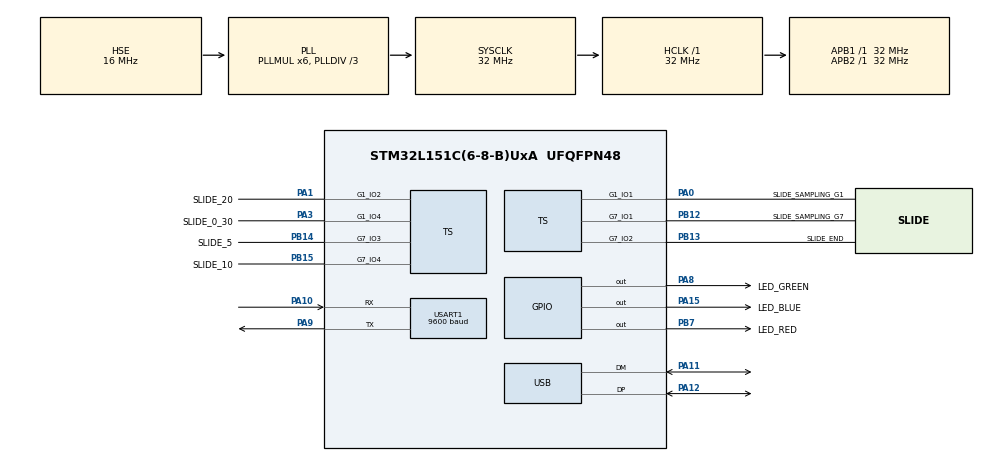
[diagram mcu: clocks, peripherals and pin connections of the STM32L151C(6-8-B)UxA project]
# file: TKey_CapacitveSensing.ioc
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Mcu.Family=STM32L1
Mcu.Name=STM32L151C(6-8-B)UxA
Mcu.Package=UFQFPN48
NVIC.PriorityGroup=NVIC_PRIORITYGROUP_4
NVIC.RCC_IRQn=true\:0\:0\:false\:false\:true\:true\:false\:true
NVIC.USB_LP_IRQn=true\:0\:0\:false\:false\:true\:false\:true\:true
PA0-WKUP1.GPIO_Label=SLIDE_SAMPLING_G1
PA0-WKUP1.Mode=G1_IO1-Sampling
PA0-WKUP1.Signal=TS_G1_IO1
PA1.GPIO_Label=SLIDE_20
PA1.Mode=G1_IO2-Channel
PA1.Signal=TS_G1_IO2
PA10.Mode=Asynchronous
PA10.Signal=USART1_RX
PA11.Mode=Device
PA11.Signal=USB_DM
PA12.Mode=Device
PA12.Signal=USB_DP
PA13.Mode=Trace_Asynchronous_SW
PA13.Signal=SYS_JTMS-SWDIO
PA14.Mode=Trace_Asynchronous_SW
PA14.Signal=SYS_JTCK-SWCLK
PA15.GPIO_Label=LED_BLUE
PA15.PinState=GPIO_PIN_SET
PA15.Signal=GPIO_Output
PA3.GPIO_Label=SLIDE_0_30
PA3.Mode=G1_IO4-Channel
PA3.Signal=TS_G1_IO4
PA8.GPIO_Label=LED_GREEN
PA8.Signal=GPIO_Output
PA9.Mode=Asynchronous
PA9.Signal=USART1_TX
PB12.GPIO_Label=SLIDE_SAMPLING_G7
PB12.Mode=G7_IO1-Sampling
PB12.Signal=TS_G7_IO1
PB13.GPIO_Label=SLIDE_END
PB13.Mode=G7_IO2-Channel
PB13.Signal=TS_G7_IO2
PB14.GPIO_Label=SLIDE_5
PB14.Mode=G7_IO3-Channel
PB14.Signal=TS_G7_IO3
PB15.GPIO_Label=SLIDE_10
PB15.Mode=G7_IO4-Channel
PB15.Signal=TS_G7_IO4
PB3.Mode=Trace_Asynchronous_SW
PB3.Signal=SYS_JTDO-TRACESWO
PB7.GPIO_Label=LED_RED
PB7.PinState=GPIO_PIN_SET
PB7.Signal=GPIO_Output
PC14-OSC32_IN.Mode=LSE-External-Oscillator
PC14-OSC32_IN.Signal=RCC_OSC32_IN
PC15-OSC32_OUT.Mode=LSE-External-Oscillator
PC15-OSC32_OUT.Signal=RCC_OSC32_OUT
PH0-OSC_IN.Mode=HSE-External-Oscillator
PH0-OSC_IN.Signal=RCC_OSC_IN
PH1-OSC_OUT.Mode=HSE-External-Oscillator
PH1-OSC_OUT.Signal=RCC_OSC_OUT
ProjectManager.HeapSize=0x200
ProjectManager.StackSize=0x400
ProjectManager.TargetToolchain=STM32CubeIDE
RCC.48MHZClocksFreq_Value=48000000
RCC.AHBFreq_Value=32000000
RCC.APB1Freq_Value=32000000
RCC.APB1TimFreq_Value=32000000
RCC.APB2Freq_Value=32000000
RCC.APB2TimFreq_Value=32000000
RCC.HCLKFreq_Value=32000000
RCC.HSE_VALUE=16000000
RCC.HSI_VALUE=16000000
RCC.MSIClockRange=RCC_MSIRANGE_6
RCC.MSI_VALUE=4194000
RCC.PLLDIV=RCC_PLL_DIV3
RCC.PLLMUL=RCC_PLL_MUL6
RCC.RTCClockSelection=RCC_RTCCLKSOURCE_LSE
RCC.RTCClockSelectionVirtual=RCC_RTCCLKSOURCE_LSE
RCC.SYSCLKFreq_VALUE=32000000
RCC.SYSCLKSource=RCC_SYSCLKSOURCE_PLLCLK
RCC.VCOOutputFreq_Value=96000000
TOUCHSENSING.IO_TOUCHKEY1=G7_IO2
TOUCHSENSING.IO_TOUCHKEY2=G7_IO3
TOUCHSENSING.IO_TOUCHKEY3=G7_IO4
TOUCHSENSING.IO_TOUCHKEY4=G1_IO2
TOUCHSENSING.IO_TOUCHKEY5=G1_IO4
TOUCHSENSING.TSLPRM_ACQ_MAX=500
TOUCHSENSING.TSLPRM_CALIB_DELAY=10
TOUCHSENSING.TSLPRM_CALIB_SAMPLES=16
TOUCHSENSING.TSLPRM_ECS_DELAY=500
TOUCHSENSING.TSLPRM_PROTECT_IO_ACCESS=1
TOUCHSENSING.TSLPRM_SENSORS_DATAS=TSLPRM_TOTAL_TOUCHKEYS 4 1 1 2 1 
TOUCHSENSING.TSLPRM_TKEY_CALIB_TH=8
TOUCHSENSING.TSLPRM_TKEY_DETECT_IN_TH=8
TOUCHSENSING.TSLPRM_TKEY_DETECT_OUT_TH=6
TOUCHSENSING.TSLPRM_TKEY_PROX_IN_TH=5
TOUCHSENSING.TSLPRM_TKEY_PROX_OUT_TH=2
TOUCHSENSING.TSLPRM_TOTAL_TOUCHKEYS=5
TOUCHSENSING.TSLPRM_TOTAL_TOUCHKEYS_B=0
TOUCHSENSING.TSLPRM_USE_GPIOC=0
TOUCHSENSING.TSLPRM_USE_PROX=0
TS.SamplingIOs-G1_IO1=TSC_GROUP1_IO1
TS.SamplingIOs-G7_IO1=TSC_GROUP7_IO1
USART1.BaudRate=9600
USART1.VirtualMode=VM_ASYNC
USB_DEVICE.CLASS_NAME_FS=CDC
USB_DEVICE.VirtualMode=Cdc
USB_DEVICE.VirtualModeFS=Cdc_FS
VP_TOUCHSENSING_VS_TOUCHSENSING.Mode=TouchSensing_Enabled
VP_USB_DEVICE_VS_USB_DEVICE_CDC_FS.Mode=CDC_FS
board=custom

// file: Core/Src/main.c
/* USER CODE BEGIN Header */
/**
  ******************************************************************************
  * @file           : main.c
  * @brief          : Main program body
  ******************************************************************************
  * @attention
  *
  * Copyright (c) 2023 STMicroelectronics.
  * All rights reserved.
  *
  * This software is licensed under terms that can be found in the LICENSE file
  * in the root directory of this software component.
  * If no LICENSE file comes with this software, it is provided AS-IS.
  *
  ******************************************************************************
  */
/* USER CODE END Header */
#include "main.h"
#include "touchsensing.h"
#include "ts.h"
#include "usart.h"
#include "usb_device.h"
#include "gpio.h"

/* USER CODE BEGIN PD */
#define TEST_TKEY(NB) ((MyTKeys[(NB)].p_Data->StateId == TSL_STATEID_DETECT) || \
		    (MyTKeys[(NB)].p_Data->StateId == TSL_STATEID_DEB_RELEASE_DETECT))
 // PB7 = LED_RED  WiMOD:NC, eMOD:Available
 #define LED_RED_TOGGLE {GPIOB->ODR ^=  (1<<7);}
 #define LED_RED_OFF    {GPIOB->ODR &= ~(1<<7);}
 #define LED_RED_ON     {GPIOB->ODR |=  (1<<7);}
 // PA15 = LED_BLUE
 #define LED_BLUE_TOGGLE  {GPIOA->ODR ^=  (1<<15);}
 #define LED_BLUE_OFF     {GPIOA->ODR &= ~(1<<15);}
 #define LED_BLUE_ON      {GPIOA->ODR |=  (1<<15);}
 // PA8 = LED_GREEN  for TS
#define LED_GREEN_TOGGLE  {GPIOA->ODR ^=  (1<<8);}
#define LED_GREEN_OFF     {GPIOA->ODR &= ~(1<<8);}
#define LED_GREEN_ON      {GPIOA->ODR |=  (1<<8);}
/* USER CODE END PD */

/* USER CODE BEGIN PV */
// For debug purpose with STMStudio
TSL_StateId_enum_T DS[TSLPRM_TOTAL_TKEYS]; // To store the States (one per object)
TSL_tDelta_T DD[TSLPRM_TOTAL_TKEYS]; // To store the Deltas (one per channel)
TSL_tMeas_T DM[TSLPRM_TOTAL_TKEYS];// To store the Measures (one per object)
TSL_tMeas_T DR[TSLPRM_TOTAL_TKEYS];// To store the references (one per object)

tsl_user_status_t status;
/* USER CODE END PV */

void SystemClock_Config(void);
/* USER CODE BEGIN PFP */
void ProcessSensors(void);

void LED_BLINK(Color color, int round) {
	__IO uint32_t led;
	uint32_t pin;
switch (color) {
	case RED:
		led = GPIOB->ODR;
		pin = GPIO_PIN_7;
		break;
	case BLUE:
		led = GPIOA->ODR;
		pin = GPIO_PIN_15;
		break;
	case GREEN:
		led = GPIOA->ODR;
		pin = GPIO_PIN_8;
		break;
	default:
		return;
	}
	led |=  (1<<pin);
	for (int l = 0; l < round; ++l) {
		led ^=  (1<<pin);
		for (int wait = 0; wait < 1000; ++wait) {
			__NOP();
		}
	}
	led &= ~(1<<pin);
}

/* USER CODE END PFP */

/* USER CODE BEGIN 0 */
void ProcessSensors(void)
{
	uint32_t idx = 0;
	uint32_t idx_ds = 0;
   uint32_t idx_dd = 0;
   uint32_t idx_dm = 0;
   uint32_t idx_dr = 0;

   // STMStudio debug
   for (idx = 0; idx < TSLPRM_TOTAL_TKEYS; idx++)
   {
     DS[idx_ds++] = MyTKeys[idx].p_Data->StateId;
     DD[idx_dd++] = MyTKeys[idx].p_ChD->Delta;
     DM[idx_dm++] = MyTKeys[idx].p_ChD->Meas;
     DR[idx_dr++] = MyTKeys[idx].p_ChD->Ref;
   }

	// TKEY 0
	if (TEST_TKEY(0)) {
		LED_BLINK(GREEN, 4);
	} else {
		LED_GREEN_OFF
		;
	}

	// TKEY 1
	if (TEST_TKEY(1)) {
		LED_BLINK(GREEN, 4);
	} else {
		LED_GREEN_OFF
		;
	}

	if (TEST_TKEY(2)) {
		LED_BLINK(GREEN, 4);
	} else {
		LED_GREEN_OFF
		;
	}

	if (TEST_TKEY(3)) {
		LED_BLINK(GREEN, 4);
	} else {
		LED_GREEN_OFF
		;
	}

	if (TEST_TKEY(4)) {
		LED_BLINK(GREEN, 4);
	} else {
		LED_GREEN_OFF
		;
	}
}

/* USER CODE END 0 */

int main(void)
{

  /* MCU Configuration--------------------------------------------------------*/

  /* Reset of all peripherals, Initializes the Flash interface and the Systick. */
  HAL_Init();

  /* Configure the system clock */
  SystemClock_Config();

  /* Initialize all configured peripherals */
  MX_GPIO_Init();
  MX_TS_Init();
  MX_TOUCHSENSING_Init();
  MX_USART1_UART_Init();
  MX_USB_DEVICE_Init();

  /* Infinite loop */
  /* USER CODE BEGIN WHILE */
  while (1)
  {
	 status =  tsl_user_Exec();
	 switch (status) {
		case TSL_USER_STATUS_OK_ECS_ON:
			LED_BLUE_TOGGLE;
			break;
		case TSL_USER_STATUS_OK_ECS_OFF:
		case TSL_USER_STATUS_OK_NO_ECS:
		case TSL_USER_STATUS_BUSY:
		default:
			LED_BLUE_OFF;
			break;
		}
    /* USER CODE END WHILE */

    /* USER CODE BEGIN 3 */
	 ProcessSensors();
  }
  /* USER CODE END 3 */
}

void SystemClock_Config(void)
{
  RCC_OscInitTypeDef RCC_OscInitStruct = {0};
  RCC_ClkInitTypeDef RCC_ClkInitStruct = {0};

  /** Configure the main internal regulator output voltage
  */
  __HAL_PWR_VOLTAGESCALING_CONFIG(PWR_REGULATOR_VOLTAGE_SCALE1);

  /** Initializes the RCC Oscillators according to the specified parameters
  * in the RCC_OscInitTypeDef structure.
  */
  RCC_OscInitStruct.OscillatorType = RCC_OSCILLATORTYPE_HSE;
  RCC_OscInitStruct.HSEState = RCC_HSE_ON;
  RCC_OscInitStruct.PLL.PLLState = RCC_PLL_ON;
  RCC_OscInitStruct.PLL.PLLSource = RCC_PLLSOURCE_HSE;
  RCC_OscInitStruct.PLL.PLLMUL = RCC_PLL_MUL6;
  RCC_OscInitStruct.PLL.PLLDIV = RCC_PLL_DIV3;
  if (HAL_RCC_OscConfig(&RCC_OscInitStruct) != HAL_OK)
  {
    Error_Handler();
  }

  /** Initializes the CPU, AHB and APB buses clocks
  */
  RCC_ClkInitStruct.ClockType = RCC_CLOCKTYPE_HCLK|RCC_CLOCKTYPE_SYSCLK
                              |RCC_CLOCKTYPE_PCLK1|RCC_CLOCKTYPE_PCLK2;
  RCC_ClkInitStruct.SYSCLKSource = RCC_SYSCLKSOURCE_PLLCLK;
  RCC_ClkInitStruct.AHBCLKDivider = RCC_SYSCLK_DIV1;
  RCC_ClkInitStruct.APB1CLKDivider = RCC_HCLK_DIV1;
  RCC_ClkInitStruct.APB2CLKDivider = RCC_HCLK_DIV1;

  if (HAL_RCC_ClockConfig(&RCC_ClkInitStruct, FLASH_LATENCY_1) != HAL_OK)
  {
    Error_Handler();
  }
}

void Error_Handler(void)
{
  __disable_irq();
  while (1)
  {
  }
}
